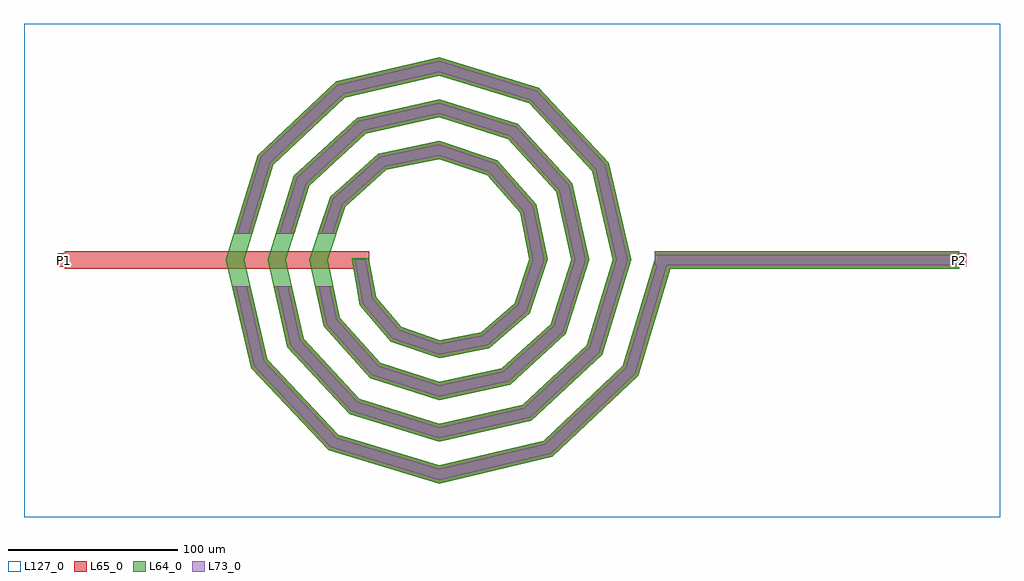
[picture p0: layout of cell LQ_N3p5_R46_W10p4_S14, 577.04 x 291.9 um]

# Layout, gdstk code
import gdstk
lib = gdstk.Library(unit=1e-6, precision=1e-09)
def R(c, l, rs):  # rectangles x0, y0, x1, y1
    for r in rs: c.add(gdstk.rectangle(r[:2], r[2:], *l))
def P(c, l, *ps):  # polygons
    for p in ps: c.add(gdstk.Polygon(p, *l))
L64_0 = (64, 0)
L65_0 = (65, 0)
L73_0 = (73, 0)
L127_0 = (127, 0)

lq_n3p5_r46_w10p4_s14 = lib.new_cell('LQ_N3p5_R46_W10p4_S14')
R(lq_n3p5_r46_w10p4_s14, L64_0, [(127.711,-5.2,307.711,5.2)])
P(lq_n3p5_r46_w10p4_s14, L64_0, [(-37.214,-21.976),(-22.283,-39.41),(0.391,-47.328),(25.018,-42.579),(44.729,-25.405),(53.496,0.35),(47.94,28.069),(28.52,50.054),(0.317,59.664),(-31.126,53.297),(-55.381,31.63),(-65.833,0.29),(-58.653,-34.189),(-34.735,-60.712),(0.267,-72.002),(37.254,-64.006),(66.044,-37.838),(78.171,0.247),(69.359,40.323),(40.938,71.378),(0.23,84.341),(-43.393,74.71),(-76.713,44.036),(-90.51,0.215),(-80.06,-46.466),(-47.133,-82.049),(0.202,-96.68),(49.54,-85.409),(87.387,-50.228),(102.85,0.191),(90.758,52.615),(53.322,92.725),(0.181,109.02),(-55.692,96.106),(-98.063,56.415),(-115.189,0.171),(-101.454,-58.769),(-59.508,-103.402),(0.163,-121.359),(61.847,-106.801),(108.741,-62.6),(127.929,1.491),(137.892,-1.491),(117.904,-68.254),(66.951,-116.282),(0.163,-132.122),(-65.176,-112.557),(-110.943,-63.858),(-125.952,0.171),(-107.209,62.098),(-60.765,105.603),(0.181,119.781),(59.021,101.86),(100.265,57.672),(113.611,0.191),(96.511,-55.945),(54.577,-94.926),(0.202,-107.44),(-52.871,-91.162),(-89.589,-51.481),(-101.27,0.215),(-85.811,49.797),(-48.383,84.252),(0.23,95.099),(46.725,80.459),(78.916,45.284),(88.928,0.247),(75.106,-43.655),(42.182,-73.581),(0.267,-82.757),(-40.587,-69.751),(-68.248,-39.078),(-76.586,0.29),(-64.395,37.523),(-35.97,62.916),(0.317,70.415),(34.462,59.035),(57.587,32.857),(64.243,0.35),(53.673,-31.407),(29.738,-52.261),(0.391,-58.07),(-28.359,-48.305),(-46.938,-26.61),(-51.644,0.937),(-41.414,0.937)])
R(lq_n3p5_r46_w10p4_s14, L65_0, [(-221.329,-5.2,-41.329,5.2), (127.711,-5.2,307.711,5.2), (-225.329,-4,-217.329,4), (303.711,-4,311.711,4)])
P(lq_n3p5_r46_w10p4_s14, L65_0, [(-101.454,-58.769),(-59.508,-103.402),(0.163,-121.359),(61.847,-106.801),(108.741,-62.6),(127.929,1.491),(137.892,-1.491),(117.905,-68.255),(66.951,-116.282),(0.163,-132.122),(-65.176,-112.557),(-110.943,-63.858),(-122.255,-15.6),(-111.573,-15.6)],
  [(-80.06,-46.466),(-47.133,-82.05),(0.202,-96.68),(49.54,-85.409),(87.387,-50.228),(102.85,0.191),(90.758,52.615),(53.322,92.725),(0.181,109.02),(-55.692,96.106),(-98.063,56.416),(-110.416,15.6),(-121.282,15.6),(-107.209,62.098),(-60.765,105.604),(0.181,119.781),(59.021,101.86),(100.265,57.672),(113.611,0.191),(96.511,-55.945),(54.577,-94.927),(0.202,-107.44),(-52.871,-91.162),(-89.589,-51.481),(-97.696,-15.6),(-87.034,-15.6)],
  [(-58.653,-34.189),(-34.735,-60.712),(0.267,-72.002),(37.254,-64.006),(66.044,-37.838),(78.171,0.247),(69.359,40.323),(40.938,71.378),(0.23,84.341),(-43.393,74.71),(-76.713,44.036),(-85.579,15.6),(-96.473,15.6),(-85.811,49.797),(-48.383,84.252),(0.23,95.099),(46.725,80.459),(78.916,45.284),(88.928,0.247),(75.106,-43.655),(42.182,-73.581),(0.267,-82.757),(-40.588,-69.752),(-68.248,-39.078),(-73.221,-15.6),(-62.59,-15.6)],
  [(-22.283,-39.41),(0.391,-47.328),(25.018,-42.579),(44.73,-25.405),(53.496,0.35),(47.94,28.069),(28.52,50.054),(0.317,59.664),(-31.126,53.297),(-55.381,31.63),(-60.63,15.6),(-71.573,15.6),(-64.395,37.523),(-35.97,62.916),(0.317,70.415),(34.463,59.036),(57.587,32.857),(64.243,0.35),(53.673,-31.407),(29.738,-52.261),(0.391,-58.07),(-28.359,-48.305),(-46.938,-26.61),(-51.644,0.938),(-41.414,0.938),(-37.214,-21.976)])
R(lq_n3p5_r46_w10p4_s14, L73_0, [(127.711,-3.2,307.711,3.2)])
P(lq_n3p5_r46_w10p4_s14, L73_0, [(-103.279,-59.748),(-60.598,-105.163),(0.1,-123.429),(62.828,-108.625),(110.504,-63.687),(129.845,0.918),(135.976,0.918),(116.142,-67.167),(65.969,-114.459),(0.1,-130.052),(-64.086,-110.796),(-109.118,-62.88),(-120.201,-15.6),(-113.627,-15.6)],
  [(-81.892,-47.43),(-48.236,-83.802),(0.125,-98.749),(50.509,-87.239),(89.141,-51.328),(104.919,0.117),(92.586,53.588),(54.418,94.481),(0.111,111.089),(-56.667,97.933),(-99.822,57.508),(-112.506,15.6),(-119.192,15.6),(-105.45,61.006),(-59.79,103.777),(0.111,117.712),(57.925,100.104),(98.437,56.699),(111.541,0.117),(94.757,-54.846),(53.608,-93.096),(0.125,-105.371),(-51.767,-89.409),(-87.756,-50.516),(-95.646,-15.6),(-89.084,-15.6)],
  [(-60.498,-35.129),(-35.861,-62.45),(0.164,-74.07),(38.202,-65.848),(67.787,-38.957),(80.24,0.152),(71.197,41.277),(42.051,73.124),(0.142,86.41),(-44.353,76.545),(-78.463,45.144),(-87.674,15.6),(-94.378,15.6),(-84.061,48.689),(-47.424,82.417),(0.142,93.03),(45.612,78.713),(77.078,44.33),(86.86,0.152),(73.363,-42.536),(41.234,-71.74),(0.164,-80.689),(-39.462,-68.013),(-66.403,-38.137),(-71.176,-15.6),(-64.634,-15.6)],
  [(-23.452,-41.121),(0.241,-49.394),(25.926,-44.441),(46.449,-26.56),(55.562,0.216),(49.795,28.99),(29.663,51.781),(0.195,61.731),(-32.058,55.147),(-57.115,32.763),(-62.734,15.6),(-69.469,15.6),(-62.661,36.39),(-35.038,61.067),(0.195,68.347),(33.32,57.308),(55.732,31.936),(62.176,0.216),(51.953,-30.253),(28.83,-50.399),(0.241,-56.004),(-27.191,-46.594),(-45.068,-25.719),(-49.677,0.577),(-43.381,0.577),(-39.084,-22.867)])
R(lq_n3p5_r46_w10p4_s14, L127_0, [(-245.329,-152.122,331.711,139.781)])
lq_n3p5_r46_w10p4_s14.add(gdstk.Label('P2', (307.711,0), layer=65, texttype=0))
lq_n3p5_r46_w10p4_s14.add(gdstk.Label('P1', (-221.329,0), layer=65, texttype=0))
lq_n3p5_r46_w10p4_s14.add(gdstk.Label('P2', (311.711,0), layer=145, texttype=0))
lq_n3p5_r46_w10p4_s14.add(gdstk.Label('P1', (-225.329,0), layer=145, texttype=0))

lib.write_gds('LQ_N3p5_R46_W10p4_S14.gds')
